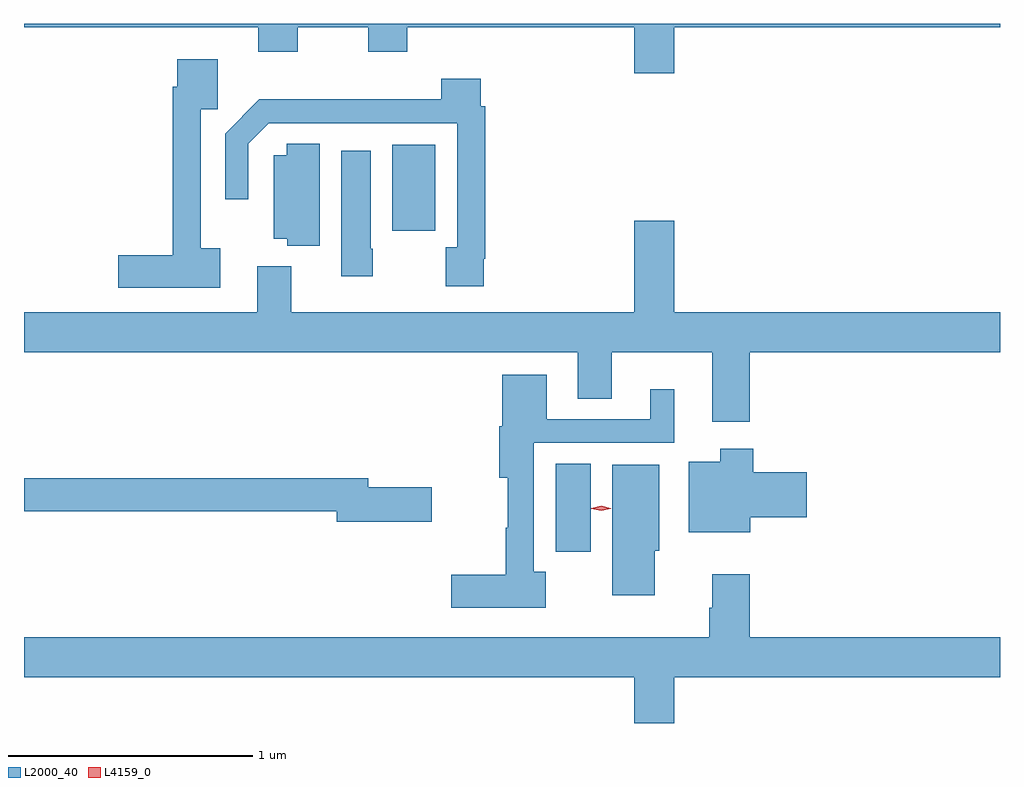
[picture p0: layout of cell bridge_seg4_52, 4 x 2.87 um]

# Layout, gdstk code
import gdstk
lib = gdstk.Library(unit=1e-6, precision=1e-09)
def R(c, l, rs):  # rectangles x0, y0, x1, y1
    for r in rs: c.add(gdstk.rectangle(r[:2], r[2:], *l))
def P(c, l, *ps):  # polygons
    for p in ps: c.add(gdstk.Polygon(p, *l))
L2000_40 = (2000, 40)
L4159_0 = (4159, 0)

bridge_seg4_52 = lib.new_cell('bridge_seg4_52')
R(bridge_seg4_52, L2000_40, [(788.063,830.634,788.206,830.996)])
P(bridge_seg4_52, L2000_40, [(788.548,832.784),(789.884,832.784),(789.884,832.799),(785.884,832.799),(785.884,832.784),(786.845,832.784),(786.845,832.685),(787.005,832.685),(787.005,832.784),(787.294,832.784),(787.294,832.685),(787.454,832.685),(787.454,832.784),(788.384,832.784),(788.384,832.596),(788.548,832.596)],
  [(786.688,831.878),(786.609,831.878),(786.609,832.449),(786.678,832.449),(786.678,832.654),(786.512,832.654),(786.512,832.541),(786.493,832.541),(786.493,831.851),(786.27,831.851),(786.27,831.716),(786.688,831.716)],
  [(787.768,831.835),(787.775,831.835),(787.775,832.46),(787.756,832.46),(787.756,832.573),(787.595,832.573),(787.595,832.49),(786.849,832.49),(786.708,832.348),(786.708,832.08),(786.804,832.08),(786.804,832.308),(786.888,832.392),(787.659,832.392),(787.659,831.883),(787.613,831.883),(787.613,831.723),(787.768,831.723)],
  [(787.096,832.307),(786.96,832.307),(786.96,832.26),(786.908,832.26),(786.908,831.917),(786.963,831.917),(786.963,831.89),(787.096,831.89)],
  [(787.569,832.054),(787.57,832.054),(787.57,832.303),(787.394,832.303),(787.394,831.951),(787.569,831.951)],
  [(787.314,831.877),(787.306,831.877),(787.306,832.279),(787.184,832.279),(787.184,831.765),(787.314,831.765)],
  [(788.858,831.452),(789.884,831.452),(789.884,831.616),(788.548,831.616),(788.548,831.991),(788.384,831.991),(788.384,831.616),(786.979,831.616),(786.979,831.805),(786.839,831.805),(786.839,831.616),(785.884,831.616),(785.884,831.452),(788.153,831.452),(788.153,831.262),(788.293,831.262),(788.293,831.452),(788.705,831.452),(788.705,831.168),(788.858,831.168)],
  [(788.023,830.553),(787.974,830.553),(787.974,831.081),(788.548,831.081),(788.548,831.301),(788.45,831.301),(788.45,831.177),(788.026,831.177),(788.026,831.361),(787.844,831.361),(787.844,831.15),(787.832,831.15),(787.832,830.939),(787.866,830.939),(787.866,830.733),(787.858,830.733),(787.858,830.54),(787.635,830.54),(787.635,830.405),(788.023,830.405)],
  [(788.86,830.777),(789.091,830.777),(789.091,830.96),(788.873,830.96),(788.873,831.058),(788.738,831.058),(788.738,831.004),(788.609,831.004),(788.609,830.714),(788.86,830.714)],
  [(788.47,830.64),(788.488,830.64),(788.488,830.992),(788.294,830.992),(788.294,830.456),(788.47,830.456)],
  [(787.555,830.9),(787.294,830.9),(787.294,830.936),(785.884,830.936),(785.884,830.8),(787.166,830.8),(787.166,830.758),(787.555,830.758)],
  [(788.548,830.12),(789.884,830.12),(789.884,830.284),(788.858,830.284),(788.858,830.542),(788.705,830.542),(788.705,830.405),(788.693,830.405),(788.693,830.284),(785.884,830.284),(785.884,830.12),(788.384,830.12),(788.384,829.932),(788.548,829.932)])
P(bridge_seg4_52, L4159_0, [(788.249,830.803),(788.209,830.812),(788.209,830.813),(788.209,830.813),(788.249,830.823),(788.289,830.813),(788.289,830.813),(788.289,830.812)])

lib.write_gds('bridge_seg4_52.gds')
